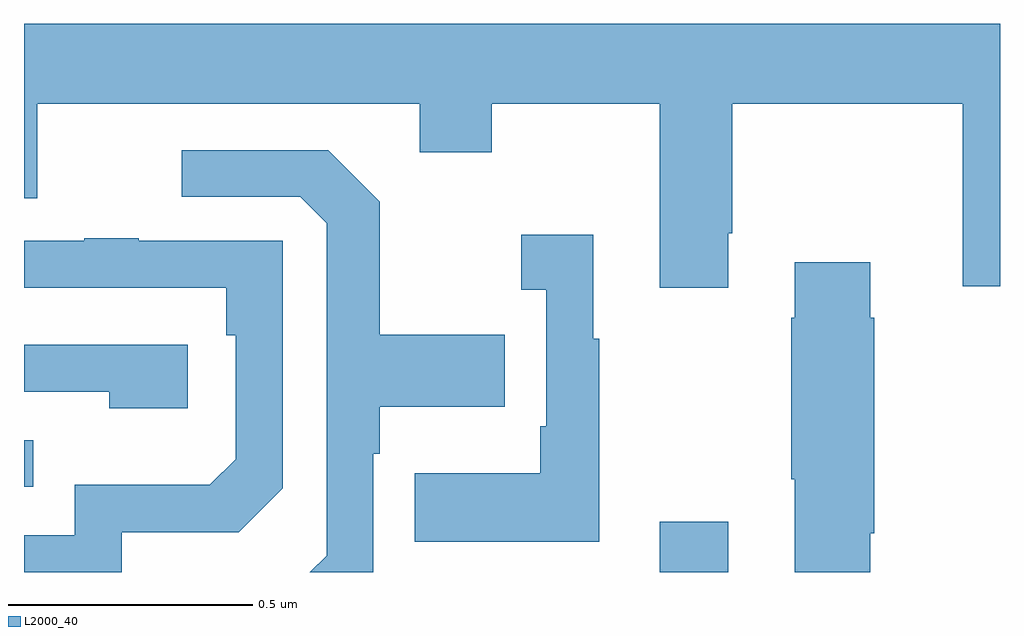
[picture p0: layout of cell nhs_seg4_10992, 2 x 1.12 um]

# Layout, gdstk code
import gdstk
lib = gdstk.Library(unit=1e-6, precision=1e-09)
def R(c, l, rs):  # rectangles x0, y0, x1, y1
    for r in rs: c.add(gdstk.rectangle(r[:2], r[2:], *l))
def P(c, l, *ps):  # polygons
    for p in ps: c.add(gdstk.Polygon(p, *l))
L2000_40 = (2000, 40)

nhs_seg4_10992 = lib.new_cell('nhs_seg4_10992')
R(nhs_seg4_10992, L2000_40, [(248.303,755.9,248.443,756.004), (247,756.075,247.019,756.171)])
P(nhs_seg4_10992, L2000_40, [(248.443,756.595),(248.451,756.595),(248.451,756.86),(248.924,756.86),(248.924,756.486),(249,756.486),(249,757.024),(247,757.024),(247,756.666),(247.027,756.666),(247.027,756.86),(247.811,756.86),(247.811,756.761),(247.959,756.761),(247.959,756.86),(248.303,756.86),(248.303,756.483),(248.443,756.483)],
  [(247.716,756.143),(247.729,756.143),(247.729,756.239),(247.985,756.239),(247.985,756.387),(247.729,756.387),(247.729,756.659),(247.623,756.765),(247.323,756.765),(247.323,756.669),(247.566,756.669),(247.62,756.615),(247.62,755.934),(247.586,755.9),(247.716,755.9)],
  [(248.179,756.379),(248.167,756.379),(248.167,756.592),(248.019,756.592),(248.019,756.479),(248.07,756.479),(248.07,756.199),(248.058,756.199),(248.058,756.103),(247.801,756.103),(247.801,755.963),(248.179,755.963)],
  [(247.2,755.982),(247.44,755.982),(247.53,756.072),(247.53,756.579),(247.235,756.579),(247.235,756.584),(247.123,756.584),(247.123,756.579),(247,756.579),(247,756.483),(247.414,756.483),(247.414,756.386),(247.434,756.386),(247.434,756.132),(247.381,756.079),(247.104,756.079),(247.104,755.976),(247,755.976),(247,755.9),(247.2,755.9)],
  [(248.734,755.98),(248.742,755.98),(248.742,756.422),(248.734,756.422),(248.734,756.535),(248.579,756.535),(248.579,756.422),(248.572,756.422),(248.572,756.091),(248.579,756.091),(248.579,755.9),(248.734,755.9)],
  [(247.336,756.366),(247,756.366),(247,756.27),(247.175,756.27),(247.175,756.236),(247.336,756.236)])

lib.write_gds('nhs_seg4_10992.gds')
